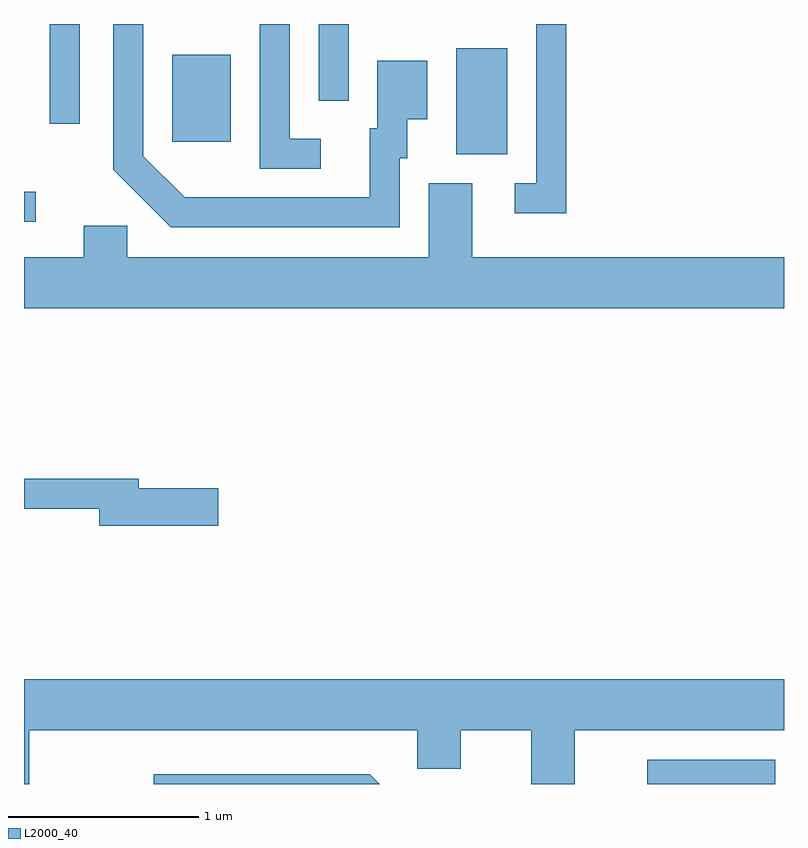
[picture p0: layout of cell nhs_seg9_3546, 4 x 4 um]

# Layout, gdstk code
import gdstk
lib = gdstk.Library(unit=1e-6, precision=1e-09)
def R(c, l, rs):  # rectangles x0, y0, x1, y1
    for r in rs: c.add(gdstk.rectangle(r[:2], r[2:], *l))
def P(c, l, *ps):  # polygons
    for p in ps: c.add(gdstk.Polygon(p, *l))
L2000_40 = (2000, 40)

nhs_seg9_3546 = lib.new_cell('nhs_seg9_3546')
R(nhs_seg9_3546, L2000_40, [(292.891,1980.432,293.564,1980.559), (289.611,1983.391,289.673,1983.549), (291.886,1983.746,292.154,1984.304), (290.391,1983.811,290.699,1984.269), (289.746,1983.908,289.904,1984.432), (291.161,1984.028,291.319,1984.432)])
P(nhs_seg9_3546, L2000_40, [(291.589,1983.726),(291.629,1983.726),(291.629,1983.931),(291.734,1983.931),(291.734,1984.239),(291.471,1984.239),(291.471,1983.884),(291.431,1983.884),(291.431,1983.519),(290.457,1983.519),(290.239,1983.737),(290.239,1984.432),(290.081,1984.432),(290.081,1983.664),(290.384,1983.361),(291.589,1983.361)],
  [(291.173,1983.829),(291.009,1983.829),(291.009,1984.432),(290.851,1984.432),(290.851,1983.671),(291.173,1983.671)],
  [(292.464,1984.432),(292.306,1984.432),(292.306,1983.594),(292.193,1983.594),(292.193,1983.436),(292.464,1983.436)],
  [(293.611,1983.204),(291.969,1983.204),(291.969,1983.594),(291.741,1983.594),(291.741,1983.204),(290.154,1983.204),(290.154,1983.369),(289.926,1983.369),(289.926,1983.204),(289.611,1983.204),(289.611,1982.936),(293.611,1982.936)],
  [(290.634,1981.989),(290.214,1981.989),(290.214,1982.039),(289.611,1982.039),(289.611,1981.881),(290.006,1981.881),(290.006,1981.791),(290.634,1981.791)],
  [(289.611,1980.432),(289.639,1980.432),(289.639,1980.716),(291.681,1980.716),(291.681,1980.511),(291.909,1980.511),(291.909,1980.716),(292.281,1980.716),(292.281,1980.432),(292.509,1980.432),(292.509,1980.716),(293.611,1980.716),(293.611,1980.984),(289.611,1980.984)],
  [(291.432,1980.484),(290.293,1980.484),(290.293,1980.432),(291.484,1980.432)])

lib.write_gds('nhs_seg9_3546.gds')
